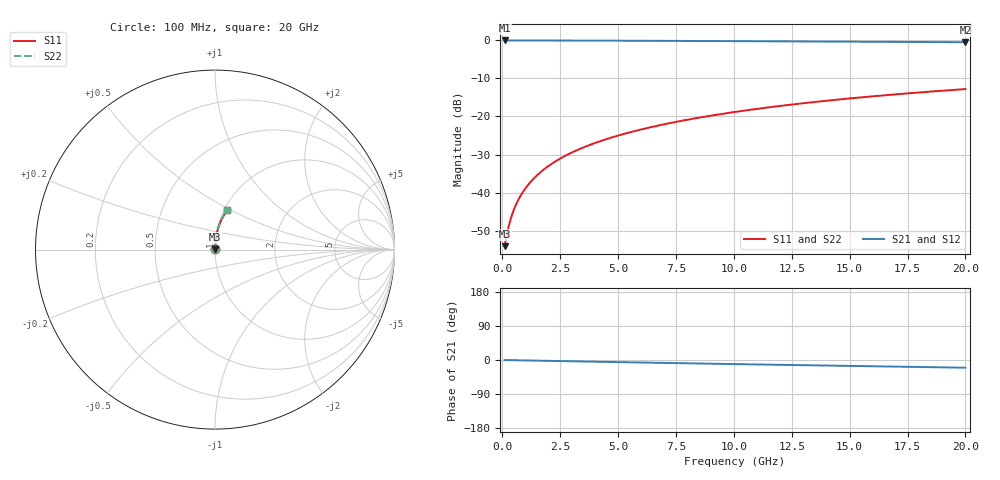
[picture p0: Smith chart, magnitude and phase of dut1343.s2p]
! Touchstone file exported from HFSS 2024.1.0
!  File:  C:/UserFiles/LocalFiles/RDL_TSV_Batchsim/temp_RDL_top_1343_1780365930.aedt
!  Generated:  10:07:35 AM Jun  2, 2026
!  Design:  RDL_top
!  Project:  temp_RDL_top_1343_1780365930
!  Setup:  Setup1
!  Solution:  Sweep
! Variables:
!  dtsv = 10.80580581um
!  hbump = 3um
!  htsv = 53.26um
!  ldown = 100um
!  lrdl = 270.07um
!  p = 40
!  p1 = 40.46um
!  rhole = 1um
!  t = 450um
!  tdown = 3.915915916um
!  trdl = 4.39um
!  wdown = 15.38538539um
!  wrdl = 15.07um
# GHz S MA R 50.000000
! Terminal data exported
! Port[1] = Box2_T1
! Port[2] = Box2_T2
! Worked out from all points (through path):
!   200 points, 100 MHz to 20 GHz, reference 50 ohm
!   highest |S21| = -0.01 dB at 100 MHz (marker M1); lowest = -0.5 dB at 20 GHz (marker M2)
!   group delay of S21, straight-line fit = 2.81 ps
!   lowest |S11| = -54.1 dB at 100 MHz (marker M3), VSWR 1.00, Z = 50.2 + j0.119 ohm
!   |S11| at or under -10 dB: start of sweep to end of sweep
!   |S22| runs from -54.1 to -12.8 dB; largest |S21 - S12| = 2.7e-15
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0.1  0.001973 36.9  0.9984 -0.1  0.9984 -0.1  0.001973 36.9
! Gamma 0 0 0 0
! Port Impedance 50 0 50 0
0.2  0.002854 55.2  0.9984 -0.2  0.9984 -0.2  0.002854 55.2
0.3  0.003858 64.1  0.9983 -0.4  0.9983 -0.4  0.003858 64.1
0.4  0.004898 69.3  0.9982 -0.5  0.9982 -0.5  0.004898 69.3
0.5  0.005955 72.7  0.9982 -0.6  0.9982 -0.6  0.005955 72.7
0.6  0.007023 75.1  0.9981 -0.7  0.9981 -0.7  0.007023 75.1
0.8  0.009182 78.3  0.998 -0.9  0.998 -0.9  0.009182 78.3
1.1  0.01246 81.0  0.9978 -1.3  0.9978 -1.3  0.01246 81.0
1.5  0.01687 82.9  0.9974 -1.7  0.9974 -1.7  0.01687 82.9
1.8  0.02019 83.7  0.9971 -2.1  0.9971 -2.1  0.02019 83.7
2.1  0.02352 84.3  0.9968 -2.4  0.9968 -2.4  0.02352 84.3
2.7  0.0302 84.9  0.996 -3.1  0.996 -3.1  0.0302 84.9
3.5  0.03916 85.2  0.9946 -4.0  0.9946 -4.0  0.03916 85.2
4.2  0.04704 85.2  0.9932 -4.7  0.9932 -4.7  0.04704 85.2
5  0.05611 85.1  0.9915 -5.6  0.9915 -5.6  0.05611 85.1
5.9  0.06639 84.8  0.9893 -6.6  0.9893 -6.6  0.06639 84.8
6.8  0.07676 84.3  0.987 -7.5  0.987 -7.5  0.07676 84.3
8.3  0.0942 83.4  0.9829 -9.1  0.9829 -9.1  0.0942 83.4
10.1  0.1153 82.0  0.9777 -10.9  0.9777 -10.9  0.1153 82.0
13.4  0.154 79.2  0.9678 -14.1  0.9678 -14.1  0.154 79.2
16.7  0.1921 76.0  0.9574 -17.3  0.9574 -17.3  0.1922 76.0
20  0.2291 72.8  0.9464 -20.3  0.9464 -20.3  0.2291 72.8
